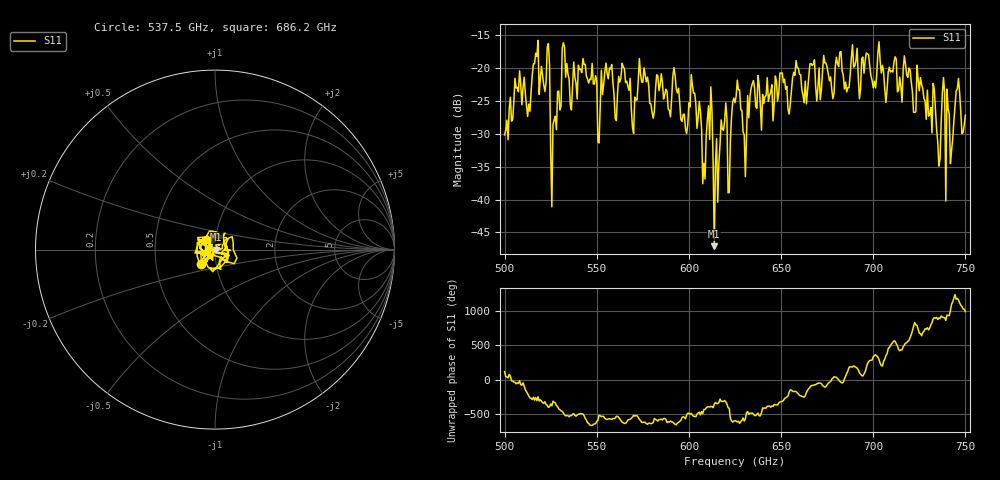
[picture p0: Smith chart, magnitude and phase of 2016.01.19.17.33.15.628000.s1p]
!Created with skrf (http://scikit-rf.org).
# GHz S RI R 50.0
!freq ReS11 ImS11
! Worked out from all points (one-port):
!   401 points, 500 GHz to 750 GHz, reference 50 ohm
!   lowest |S11| = -47.1 dB at 613.8 GHz (marker M1), VSWR 1.01, Z = 50.4 + j0.0438 ohm
!   |S11| at or under -10 dB: start of sweep to end of sweep
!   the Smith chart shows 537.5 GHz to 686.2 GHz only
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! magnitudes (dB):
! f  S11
! 500 GHz  -30.2
! 506.9 GHz  -23.0
! 513.1 GHz  -25.5
! 516.9 GHz  -17.8
! 523.1 GHz  -16.9
! 526.2 GHz  -28.6
! 531.2 GHz  -17.1
! 551.9 GHz  -25.8
! 562.5 GHz  -22.2
! 570 GHz  -30.0
! 574.4 GHz  -22.2
! 593.8 GHz  -23.8
! 598.1 GHz  -29.3
! 602.5 GHz  -23.9
! 608.1 GHz  -34.5
! 611.2 GHz  -30.9
! 613.8 GHz  -47.1
! 618.8 GHz  -29.5
! 622.5 GHz  -30.9
! 625 GHz  -25.3
! 630 GHz  -30.2
! 634.4 GHz  -22.4
! 656.2 GHz  -21.5
! 687.5 GHz  -21.0
! 718.8 GHz  -21.5
! 735.6 GHz  -34.9
! 745.6 GHz  -23.2
! 750 GHz  -27.2
